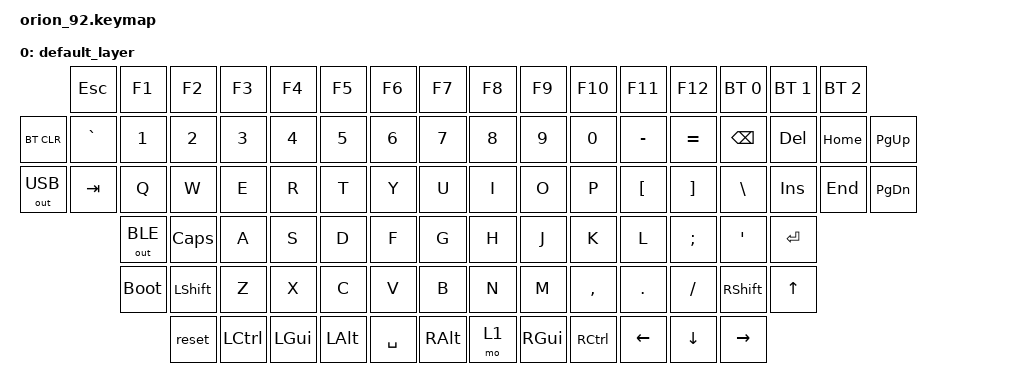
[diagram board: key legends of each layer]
#include <behaviors.dtsi>
#include <dt-bindings/zmk/bt.h>
#include <dt-bindings/zmk/keys.h>
#include <dt-bindings/zmk/outputs.h>

/ {
	keymap {
		compatible = "zmk,keymap";

		default_layer {
// --------------------------------------------------------------------------------------------------
// |     |  ESC  | F1 | F2 | F3 | F4 | F5 | F6 | F7 | F8 | F9 | F10 | F11 | F12 || BT1  | BT2 | BT3 |
// | F13 |   ~   | 1 | 2 | 3 | 4 | 5 | 6 | 7 | 8 | 9 | 0 | - | = |     BSPC     || DEL  |  ⇤  |  ↑  |
// | F14 |   TAB   | Q | W | E | R | T | Y | U | I | O | P | [ | ] |    \       || INS  |  ⇥  |  ↓  |
// | F15 |   CAPS   | A | S | D| F | G | H | J | K | L | ; | ' |      ENTER     ||------------------|
// | F16 |   SHIFT    | Z | X | C | V | B | N | M | , | . | / |       SHIFT     ||      |  ▲  |     |
// | F17 | CTRL | WIN | ALT |           SPACE           | ALT | FN | WIN | CTRL ||  ◄   |  ▼  |  ►  |
// --------------------------------------------------------------------------------------------------
			bindings = <
				&kp ESC &kp F1 &kp F2 &kp F3 &kp F4 &kp F5 &kp F6 &kp F7 &kp F8 &kp F9 &kp F10 &kp F11 &kp F12 &bt BT_SEL 0 &bt BT_SEL 1 &bt BT_SEL 2
				&bt BT_CLR &kp GRAVE &kp N1 &kp N2 &kp N3 &kp N4 &kp N5 &kp N6 &kp N7 &kp N8 &kp N9 &kp N0 &kp MINUS &kp EQUAL &kp BSPC &kp DEL &kp HOME &kp PG_UP
				&out OUT_USB &kp TAB &kp Q &kp W &kp E &kp R &kp T &kp Y &kp U &kp I &kp O &kp P &kp LBKT &kp RBKT &kp BSLH &kp INS &kp END &kp PG_DN
				&out OUT_BLE &kp CLCK &kp A &kp S &kp D &kp F &kp G &kp H &kp J &kp K &kp L &kp SEMI &kp SQT &kp ENTER
				&bootloader &kp LSHFT &kp Z &kp X &kp C &kp V &kp B &kp N &kp M &kp COMMA &kp DOT &kp SLASH &kp RSHFT &kp UP
				&reset &kp LCTRL &kp LGUI &kp LALT &kp SPACE &kp RALT &mo 1 &kp RGUI &kp RCTRL &kp LEFT &kp DOWN &kp RIGHT
			>;
		};
	};
};
